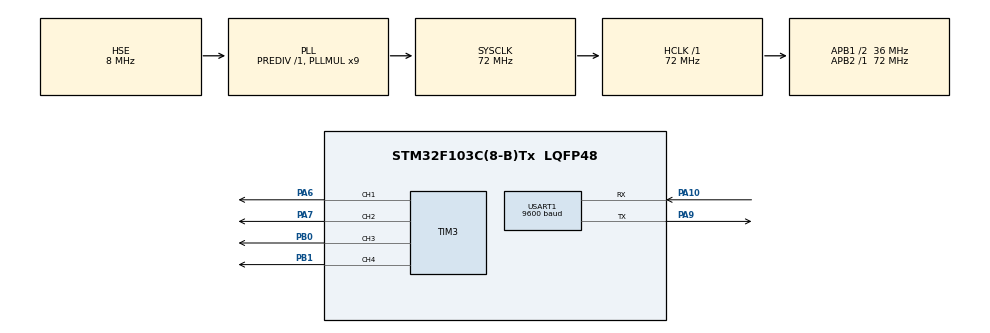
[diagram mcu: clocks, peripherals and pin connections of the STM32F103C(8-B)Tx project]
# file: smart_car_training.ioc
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Mcu.Family=STM32F1
Mcu.Name=STM32F103C(8-B)Tx
Mcu.Package=LQFP48
NVIC.PriorityGroup=NVIC_PRIORITYGROUP_4
NVIC.USART1_IRQn=true\:0\:0\:false\:false\:true\:true\:true\:true
PA10.Mode=Asynchronous
PA10.Signal=USART1_RX
PA13.Mode=Serial_Wire
PA13.Signal=SYS_JTMS-SWDIO
PA14.Mode=Serial_Wire
PA14.Signal=SYS_JTCK-SWCLK
PA6.Signal=S_TIM3_CH1
PA7.Signal=S_TIM3_CH2
PA9.Mode=Asynchronous
PA9.Signal=USART1_TX
PB0.Signal=S_TIM3_CH3
PB1.Signal=S_TIM3_CH4
PD0-OSC_IN.Mode=HSE-External-Oscillator
PD0-OSC_IN.Signal=RCC_OSC_IN
PD1-OSC_OUT.Mode=HSE-External-Oscillator
PD1-OSC_OUT.Signal=RCC_OSC_OUT
ProjectManager.HeapSize=0x200
ProjectManager.StackSize=0x400
ProjectManager.TargetToolchain=STM32CubeIDE
RCC.AHBFreq_Value=72000000
RCC.APB1CLKDivider=RCC_HCLK_DIV2
RCC.APB1Freq_Value=36000000
RCC.APB1TimFreq_Value=72000000
RCC.APB2Freq_Value=72000000
RCC.APB2TimFreq_Value=72000000
RCC.HCLKFreq_Value=72000000
RCC.PLLMUL=RCC_PLL_MUL9
RCC.PLLSourceVirtual=RCC_PLLSOURCE_HSE
RCC.SYSCLKFreq_VALUE=72000000
RCC.SYSCLKSource=RCC_SYSCLKSOURCE_PLLCLK
RCC.USBFreq_Value=72000000
SH.S_TIM3_CH1.0=TIM3_CH1,PWM Generation1 CH1
SH.S_TIM3_CH2.0=TIM3_CH2,PWM Generation2 CH2
SH.S_TIM3_CH3.0=TIM3_CH3,PWM Generation3 CH3
SH.S_TIM3_CH4.0=TIM3_CH4,PWM Generation4 CH4
TIM3.Channel-PWM\ Generation1\ CH1=TIM_CHANNEL_1
TIM3.Channel-PWM\ Generation2\ CH2=TIM_CHANNEL_2
TIM3.Channel-PWM\ Generation3\ CH3=TIM_CHANNEL_3
TIM3.Channel-PWM\ Generation4\ CH4=TIM_CHANNEL_4
USART1.BaudRate=9600
USART1.VirtualMode=VM_ASYNC
board=custom

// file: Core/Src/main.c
/* USER CODE BEGIN Header */
/**
  ******************************************************************************
  * @file           : main.c
  * @brief          : Main program body
  ******************************************************************************
  * @attention
  *
  * Copyright (c) 2025 STMicroelectronics.
  * All rights reserved.
  *
  * This software is licensed under terms that can be found in the LICENSE file
  * in the root directory of this software component.
  * If no LICENSE file comes with this software, it is provided AS-IS.
  *
  ******************************************************************************
  */
/* USER CODE END Header */
#include "main.h"

/* USER CODE BEGIN Includes */
#include "usart.h"
#include "OLED.h"
#include "hrun.h"
#include "key.h"
#include "set.h"
#include <stdio.h>
#include <string.h>

/* USER CODE END Includes */

TIM_HandleTypeDef htim3;

UART_HandleTypeDef huart1;

void SystemClock_Config(void);
static void MX_GPIO_Init(void);
static void MX_TIM3_Init(void);
static void MX_USART1_UART_Init(void);

int main(void)
{

  /* MCU Configuration--------------------------------------------------------*/

  /* Reset of all peripherals, Initializes the Flash interface and the Systick. */
  HAL_Init();

  /* Configure the system clock */
  SystemClock_Config();

  /* Initialize all configured peripherals */
  MX_GPIO_Init();
  MX_TIM3_Init();
  MX_USART1_UART_Init();
  /* USER CODE BEGIN 2 */

  // 初始化OLED显示
  OLED_Init();
  OLED_Clear();
  OLED_ShowString(1, 1, "High Speed Run");
  OLED_ShowString(2, 1, "Initializing...");
  HAL_Delay(500);

  // 初始化UART接收
  usart_init(&huart1);

  // 初始化按键
  KEY_Init();

  // 初始化高速寻迹系统
  HRun_Init();

  // 发送启动消息
  usart_send_string("\r\n=== High Speed Line Tracking ===\r\n");
  usart_send_string("K1: Start/Stop\r\n");
  usart_send_string("K2: Toggle BLACK/WHITE\r\n");
  usart_send_string("Type HELP for commands\r\n\r\n");

  OLED_Clear();
  OLED_ShowString(1, 1, "K1:Run K2:Mode");
  OLED_ShowString(2, 1, "Mode: BLACK");
  HAL_Delay(500);

  /* USER CODE END 2 */

  /* Infinite loop */
  /* USER CODE BEGIN WHILE */

  uint8_t hrun_started = 0;
  while (1)
  {
    /* USER CODE END WHILE */

    /* USER CODE BEGIN 3 */

    // 检查K1按键启动/停止
    if (KEY1_Read() == KEY_PRESSED) {
        HAL_Delay(20);  // 消抖
        if (KEY1_Read() == KEY_PRESSED) {
            while(KEY1_Read() == KEY_PRESSED);  // 等待释放

            hrun_started = !hrun_started;

            if (hrun_started) {
                usart_send_string("STARTED\r\n");
                OLED_ShowString(3, 1, "Status: RUN   ");
            } else {
                Car_Move(0, 0);
                usart_send_string("STOPPED\r\n");
                OLED_ShowString(3, 1, "Status: STOP  ");
            }
            HAL_Delay(200);
        }
    }

    // 检查K2按键切换黑白线模式
    if (KEY2_Read() == KEY_PRESSED) {
        HAL_Delay(20);  // 消抖
        if (KEY2_Read() == KEY_PRESSED) {
            while(KEY2_Read() == KEY_PRESSED);  // 等待释放

            // 切换寻迹模式
            HRun_ToggleLineMode();

            // 更新显示和串口输出
            const char* mode_name = HRun_GetLineModeName();
            char oled_str[16];
            char uart_str[32];

            sprintf(oled_str, "Mode: %-6s", mode_name);
            sprintf(uart_str, "Line Mode: %s\r\n", mode_name);

            OLED_ShowString(2, 1, oled_str);
            usart_send_string(uart_str);

            HAL_Delay(200);
        }
    }

    // 高速寻迹主循环
    if (hrun_started) {
        HRun_LineFollowStep();
    }

    // 处理串口调参命令
    if (usart_rx_complete()) {
        char cmd[USART_REC_LEN];
        uint16_t len = usart_get_rx_length();

        if (len > 0 && len < USART_REC_LEN) {
            memcpy(cmd, (char*)USART_RX_BUF, len);
            cmd[len] = '\0';

            // 处理调参命令
            Set_ProcessCommand(cmd);
        }

        usart_clear_rx_buffer();
    }

    HAL_Delay(1);  // 1ms延迟
  }
  /* USER CODE END 3 */
}

void SystemClock_Config(void)
{
  RCC_OscInitTypeDef RCC_OscInitStruct = {0};
  RCC_ClkInitTypeDef RCC_ClkInitStruct = {0};

  /** Initializes the RCC Oscillators according to the specified parameters
  * in the RCC_OscInitTypeDef structure.
  */
  RCC_OscInitStruct.OscillatorType = RCC_OSCILLATORTYPE_HSE;
  RCC_OscInitStruct.HSEState = RCC_HSE_ON;
  RCC_OscInitStruct.HSEPredivValue = RCC_HSE_PREDIV_DIV1;
  RCC_OscInitStruct.HSIState = RCC_HSI_ON;
  RCC_OscInitStruct.PLL.PLLState = RCC_PLL_ON;
  RCC_OscInitStruct.PLL.PLLSource = RCC_PLLSOURCE_HSE;
  RCC_OscInitStruct.PLL.PLLMUL = RCC_PLL_MUL9;
  if (HAL_RCC_OscConfig(&RCC_OscInitStruct) != HAL_OK)
  {
    Error_Handler();
  }

  /** Initializes the CPU, AHB and APB buses clocks
  */
  RCC_ClkInitStruct.ClockType = RCC_CLOCKTYPE_HCLK|RCC_CLOCKTYPE_SYSCLK
                              |RCC_CLOCKTYPE_PCLK1|RCC_CLOCKTYPE_PCLK2;
  RCC_ClkInitStruct.SYSCLKSource = RCC_SYSCLKSOURCE_PLLCLK;
  RCC_ClkInitStruct.AHBCLKDivider = RCC_SYSCLK_DIV1;
  RCC_ClkInitStruct.APB1CLKDivider = RCC_HCLK_DIV2;
  RCC_ClkInitStruct.APB2CLKDivider = RCC_HCLK_DIV1;

  if (HAL_RCC_ClockConfig(&RCC_ClkInitStruct, FLASH_LATENCY_2) != HAL_OK)
  {
    Error_Handler();
  }
}

static void MX_TIM3_Init(void)
{

  TIM_MasterConfigTypeDef sMasterConfig = {0};
  TIM_OC_InitTypeDef sConfigOC = {0};

  htim3.Instance = TIM3;
  htim3.Init.Prescaler = 0;
  htim3.Init.CounterMode = TIM_COUNTERMODE_UP;
  htim3.Init.Period = 65535;
  htim3.Init.ClockDivision = TIM_CLOCKDIVISION_DIV1;
  htim3.Init.AutoReloadPreload = TIM_AUTORELOAD_PRELOAD_DISABLE;
  if (HAL_TIM_PWM_Init(&htim3) != HAL_OK)
  {
    Error_Handler();
  }
  sMasterConfig.MasterOutputTrigger = TIM_TRGO_RESET;
  sMasterConfig.MasterSlaveMode = TIM_MASTERSLAVEMODE_DISABLE;
  if (HAL_TIMEx_MasterConfigSynchronization(&htim3, &sMasterConfig) != HAL_OK)
  {
    Error_Handler();
  }
  sConfigOC.OCMode = TIM_OCMODE_PWM1;
  sConfigOC.Pulse = 0;
  sConfigOC.OCPolarity = TIM_OCPOLARITY_HIGH;
  sConfigOC.OCFastMode = TIM_OCFAST_DISABLE;
  if (HAL_TIM_PWM_ConfigChannel(&htim3, &sConfigOC, TIM_CHANNEL_1) != HAL_OK)
  {
    Error_Handler();
  }
  if (HAL_TIM_PWM_ConfigChannel(&htim3, &sConfigOC, TIM_CHANNEL_2) != HAL_OK)
  {
    Error_Handler();
  }
  if (HAL_TIM_PWM_ConfigChannel(&htim3, &sConfigOC, TIM_CHANNEL_3) != HAL_OK)
  {
    Error_Handler();
  }
  if (HAL_TIM_PWM_ConfigChannel(&htim3, &sConfigOC, TIM_CHANNEL_4) != HAL_OK)
  {
    Error_Handler();
  }
  HAL_TIM_MspPostInit(&htim3);

}

static void MX_USART1_UART_Init(void)
{

  huart1.Instance = USART1;
  huart1.Init.BaudRate = 9600;
  huart1.Init.WordLength = UART_WORDLENGTH_8B;
  huart1.Init.StopBits = UART_STOPBITS_1;
  huart1.Init.Parity = UART_PARITY_NONE;
  huart1.Init.Mode = UART_MODE_TX_RX;
  huart1.Init.HwFlowCtl = UART_HWCONTROL_NONE;
  huart1.Init.OverSampling = UART_OVERSAMPLING_16;
  if (HAL_UART_Init(&huart1) != HAL_OK)
  {
    Error_Handler();
  }

}

static void MX_GPIO_Init(void)
{

  /* GPIO Ports Clock Enable */
  __HAL_RCC_GPIOD_CLK_ENABLE();
  __HAL_RCC_GPIOA_CLK_ENABLE();
  __HAL_RCC_GPIOB_CLK_ENABLE();

}

void Error_Handler(void)
{
  __disable_irq();
  while (1)
  {
  }
}
